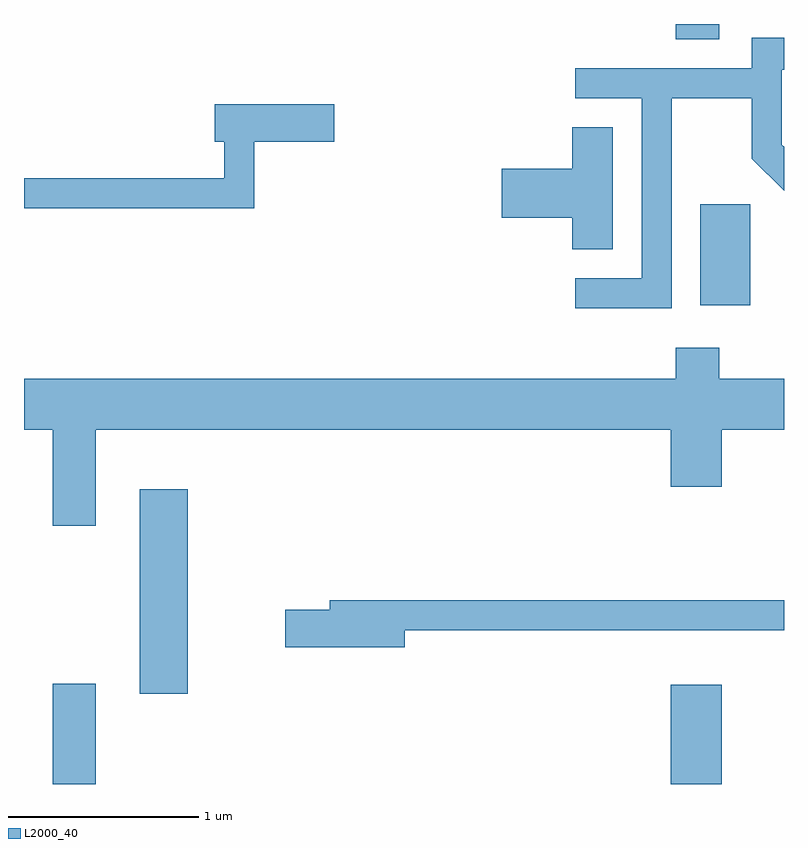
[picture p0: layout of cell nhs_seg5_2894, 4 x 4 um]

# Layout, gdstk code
import gdstk
lib = gdstk.Library(unit=1e-6, precision=1e-09)
def R(c, l, rs):  # rectangles x0, y0, x1, y1
    for r in rs: c.add(gdstk.rectangle(r[:2], r[2:], *l))
def P(c, l, *ps):  # polygons
    for p in ps: c.add(gdstk.Polygon(p, *l))
L2000_40 = (2000, 40)

nhs_seg5_2894 = lib.new_cell('nhs_seg5_2894')
R(nhs_seg5_2894, L2000_40, [(271.761,1426.072,271.989,1426.599), (275.016,1426.072,275.284,1426.594), (272.221,1426.546,272.474,1427.624), (275.171,1428.591,275.434,1429.124), (275.041,1429.991,275.269,1430.072)])
P(nhs_seg5_2894, L2000_40, [(275.019,1429.681),(275.441,1429.681),(275.441,1429.364),(275.611,1429.194),(275.611,1429.425),(275.599,1429.437),(275.599,1429.831),(275.611,1429.831),(275.611,1429.999),(275.441,1429.999),(275.441,1429.839),(274.513,1429.839),(274.513,1429.681),(274.861,1429.681),(274.861,1428.734),(274.513,1428.734),(274.513,1428.576),(275.019,1428.576)],
  [(272.824,1429.451),(273.244,1429.451),(273.244,1429.649),(272.616,1429.649),(272.616,1429.451),(272.666,1429.451),(272.666,1429.259),(271.611,1429.259),(271.611,1429.101),(272.824,1429.101)],
  [(274.709,1429.529),(274.496,1429.529),(274.496,1429.309),(274.126,1429.309),(274.126,1429.051),(274.496,1429.051),(274.496,1428.886),(274.709,1428.886)],
  [(271.989,1427.936),(275.016,1427.936),(275.016,1427.636),(275.284,1427.636),(275.284,1427.936),(275.611,1427.936),(275.611,1428.204),(275.269,1428.204),(275.269,1428.369),(275.041,1428.369),(275.041,1428.204),(271.611,1428.204),(271.611,1427.936),(271.761,1427.936),(271.761,1427.431),(271.989,1427.431)],
  [(273.614,1426.881),(275.611,1426.881),(275.611,1427.039),(273.221,1427.039),(273.221,1426.989),(272.986,1426.989),(272.986,1426.791),(273.614,1426.791)])

lib.write_gds('nhs_seg5_2894.gds')
